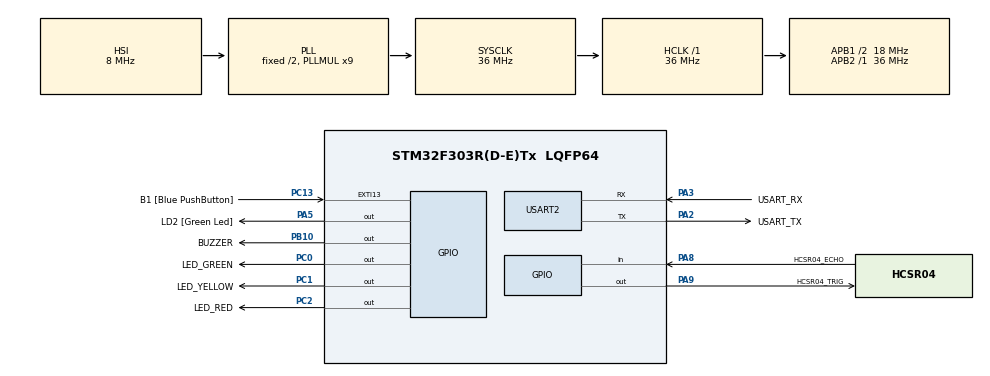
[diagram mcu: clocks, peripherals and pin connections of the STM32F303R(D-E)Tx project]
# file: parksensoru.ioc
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Mcu.Family=STM32F3
Mcu.Name=STM32F303R(D-E)Tx
Mcu.Package=LQFP64
NVIC.PriorityGroup=NVIC_PRIORITYGROUP_0
PA13.GPIO_Label=TMS
PA13.Mode=Serial_Wire
PA13.Signal=SYS_JTMS-SWDIO
PA14.GPIO_Label=TCK
PA14.Mode=Serial_Wire
PA14.Signal=SYS_JTCK-SWCLK
PA2.GPIO_Label=USART_TX
PA2.GPIO_Mode=GPIO_MODE_AF_PP
PA2.GPIO_PuPd=GPIO_NOPULL
PA2.GPIO_Speed=GPIO_SPEED_FREQ_LOW
PA2.Mode=Asynchronous
PA2.Signal=USART2_TX
PA3.GPIO_Label=USART_RX
PA3.GPIO_Mode=GPIO_MODE_AF_PP
PA3.GPIO_PuPd=GPIO_NOPULL
PA3.GPIO_Speed=GPIO_SPEED_FREQ_LOW
PA3.Mode=Asynchronous
PA3.Signal=USART2_RX
PA5.GPIO_Label=LD2 [Green Led]
PA5.GPIO_Mode=GPIO_MODE_OUTPUT_PP
PA5.GPIO_PuPd=GPIO_NOPULL
PA5.GPIO_Speed=GPIO_SPEED_FREQ_LOW
PA5.Signal=GPIO_Output
PA8.GPIO_Label=HCSR04_ECHO
PA8.Signal=GPIO_Input
PA9.GPIO_Label=HCSR04_TRIG
PA9.Signal=GPIO_Output
PB10.GPIO_Label=BUZZER
PB10.Signal=GPIO_Output
PB3.GPIO_Label=SWO
PB3.Signal=SYS_JTDO-TRACESWO
PC0.GPIO_Label=LED_GREEN
PC0.Signal=GPIO_Output
PC1.GPIO_Label=LED_YELLOW
PC1.Signal=GPIO_Output
PC13.GPIO_Label=B1 [Blue PushButton]
PC13.GPIO_ModeDefaultEXTI=GPIO_MODE_IT_FALLING
PC13.Signal=GPXTI13
PC14-OSC32_IN.Mode=LSE-External-Oscillator
PC14-OSC32_IN.Signal=RCC_OSC32_IN
PC15-OSC32_OUT.Mode=LSE-External-Oscillator
PC15-OSC32_OUT.Signal=RCC_OSC32_OUT
PC2.GPIO_Label=LED_RED
PC2.Signal=GPIO_Output
PF0-OSC_IN.Mode=HSE-External-Clock-Source
PF0-OSC_IN.Signal=RCC_OSC_IN
PF1-OSC_OUT.Signal=RCC_OSC_OUT
ProjectManager.HeapSize=0x200
ProjectManager.StackSize=0x400
ProjectManager.TargetToolchain=STM32CubeIDE
RCC.AHBFreq_Value=36000000
RCC.APB1CLKDivider=RCC_HCLK_DIV2
RCC.APB1Freq_Value=18000000
RCC.APB1TimFreq_Value=36000000
RCC.APB2Freq_Value=36000000
RCC.APB2TimFreq_Value=36000000
RCC.CortexFreq_Value=36000000
RCC.HCLKFreq_Value=36000000
RCC.HSE_VALUE=8000000
RCC.HSI_VALUE=8000000
RCC.PLLM=8
RCC.PLLMUL=RCC_PLL_MUL9
RCC.PLLN=336
RCC.PLLP=RCC_PLLP_DIV4
RCC.PLLQ=7
RCC.RCC_PLLsource_Clock_Source_FROM_HSE=RCC_HSE_PREDIV_DIV2
RCC.SYSCLKFreq_VALUE=36000000
RCC.SYSCLKSourceVirtual=RCC_SYSCLKSOURCE_PLLCLK
RCC.USBFreq_Value=36000000
TIM2.Prescaler=35
USART2.VirtualMode-Asynchronous=VM_ASYNC
VP_TIM2_VS_ClockSourceINT.Mode=Internal
board=NUCLEO-F303RE

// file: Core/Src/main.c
/* USER CODE BEGIN Header */
/**
  ******************************************************************************
  * @file           : main.c
  * @brief          : Main program body
  ******************************************************************************
  * @attention
  *
  * Copyright (c) 2026 STMicroelectronics.
  * All rights reserved.
  *
  * This software is licensed under terms that can be found in the LICENSE file
  * in the root directory of this software component.
  * If no LICENSE file comes with this software, it is provided AS-IS.
  *
  ******************************************************************************
  */
/* USER CODE END Header */
#include "main.h"

TIM_HandleTypeDef htim2;

UART_HandleTypeDef huart2;

void SystemClock_Config(void);
static void MX_GPIO_Init(void);
static void MX_USART2_UART_Init(void);
static void MX_TIM2_Init(void);

/* USER CODE BEGIN 0 */
void delay_us(uint16_t us) {
    __HAL_TIM_SET_COUNTER(&htim2, 0);  // Timer'ı sıfırla (htim1 kullandığını varsayıyorum)
    while (__HAL_TIM_GET_COUNTER(&htim2) < us); // Hedef süreye kadar bekle
}
/* USER CODE END 0 */

int main(void)
{

  /* USER CODE BEGIN 1 */
	uint32_t pMillis;
	uint32_t Local_Time = 0;
	uint32_t Distance = 0;
  /* USER CODE END 1 */

  /* MCU Configuration--------------------------------------------------------*/

  /* Reset of all peripherals, Initializes the Flash interface and the Systick. */
  HAL_Init();

  /* Configure the system clock */
  SystemClock_Config();

  /* Initialize all configured peripherals */
  MX_GPIO_Init();
  MX_USART2_UART_Init();
  MX_TIM2_Init();

  /* Infinite loop */
  /* USER CODE BEGIN WHILE */
  HAL_TIM_Base_Start(&htim2);
  while (1)
  {
	      // --- 1. MESAFE ÖLÇÜMÜ (Aynı kalıyor) ---
	      HAL_GPIO_WritePin(HCSR04_TRIG_GPIO_Port, HCSR04_TRIG_Pin, GPIO_PIN_SET);
	      delay_us(10);
	      HAL_GPIO_WritePin(HCSR04_TRIG_GPIO_Port, HCSR04_TRIG_Pin, GPIO_PIN_RESET);

	      while (!(HAL_GPIO_ReadPin(HCSR04_ECHO_GPIO_Port, HCSR04_ECHO_Pin)));
	      __HAL_TIM_SET_COUNTER(&htim2, 0); // Senin timer'ın TIM2 idi
	      while (HAL_GPIO_ReadPin(HCSR04_ECHO_GPIO_Port, HCSR04_ECHO_Pin));
	      Local_Time = __HAL_TIM_GET_COUNTER(&htim2);

	      Distance = Local_Time * 0.034 / 2;

	      // --- 2. LED VE DİNAMİK BUZZER MANTIĞI ---

	      if (Distance >= 50) {
	          // GÜVENLİ: Sadece Yeşil LED yanar, Buzzer susar
	          HAL_GPIO_WritePin(LED_GREEN_GPIO_Port, LED_GREEN_Pin, 1);
	          HAL_GPIO_WritePin(LED_YELLOW_GPIO_Port, LED_YELLOW_Pin, 0);
	          HAL_GPIO_WritePin(LED_RED_GPIO_Port, LED_RED_Pin, 0);
	          HAL_GPIO_WritePin(BUZZER_GPIO_Port, BUZZER_Pin, 0);
	      }
	      else if (Distance < 50 && Distance >= 20) {
	          // DİKKAT: Sarı LED yanar, mesafe azaldıkça hızlanan bip
	          HAL_GPIO_WritePin(LED_GREEN_GPIO_Port, LED_GREEN_Pin, 0);
	          HAL_GPIO_WritePin(LED_YELLOW_GPIO_Port, LED_YELLOW_Pin, 1);
	          HAL_GPIO_WritePin(LED_RED_GPIO_Port, LED_RED_Pin, 0);

	          // Dinamik Bipleme
	          HAL_GPIO_WritePin(BUZZER_GPIO_Port, BUZZER_Pin, 1); // Buzzer'ı aç
	          HAL_Delay(60);                                     // Kısa bir "bip" sesi (sabit süre)
	          HAL_GPIO_WritePin(BUZZER_GPIO_Port, BUZZER_Pin, 0); // Buzzer'ı kapat

	          // Mesafe ile orantılı bekle: Mesafe azaldıkça bu süre kısalır
	          HAL_Delay(Distance * 10);
	      }
	      else if (Distance < 20 && Distance > 0) {
	          // TEHLİKE: Kırmızı LED yanar, Buzzer SÜREKLİ çalar
	          HAL_GPIO_WritePin(LED_GREEN_GPIO_Port, LED_GREEN_Pin, 0);
	          HAL_GPIO_WritePin(LED_YELLOW_GPIO_Port, LED_YELLOW_Pin, 0);
	          HAL_GPIO_WritePin(LED_RED_GPIO_Port, LED_RED_Pin, 1);
	          HAL_GPIO_WritePin(BUZZER_GPIO_Port, BUZZER_Pin, 1);
	      }

	      HAL_Delay(20); // Sistem kararlılığı için çok kısa bir ara
    /* USER CODE END WHILE */

  }
}

void SystemClock_Config(void)
{
  RCC_OscInitTypeDef RCC_OscInitStruct = {0};
  RCC_ClkInitTypeDef RCC_ClkInitStruct = {0};
  RCC_PeriphCLKInitTypeDef PeriphClkInit = {0};

  /** Initializes the RCC Oscillators according to the specified parameters
  * in the RCC_OscInitTypeDef structure.
  */
  RCC_OscInitStruct.OscillatorType = RCC_OSCILLATORTYPE_HSI;
  RCC_OscInitStruct.HSIState = RCC_HSI_ON;
  RCC_OscInitStruct.HSICalibrationValue = RCC_HSICALIBRATION_DEFAULT;
  RCC_OscInitStruct.PLL.PLLState = RCC_PLL_ON;
  RCC_OscInitStruct.PLL.PLLSource = RCC_PLLSOURCE_HSI;
  RCC_OscInitStruct.PLL.PLLMUL = RCC_PLL_MUL9;
  RCC_OscInitStruct.PLL.PREDIV = RCC_PREDIV_DIV1;
  if (HAL_RCC_OscConfig(&RCC_OscInitStruct) != HAL_OK)
  {
    Error_Handler();
  }

  /** Initializes the CPU, AHB and APB buses clocks
  */
  RCC_ClkInitStruct.ClockType = RCC_CLOCKTYPE_HCLK|RCC_CLOCKTYPE_SYSCLK
                              |RCC_CLOCKTYPE_PCLK1|RCC_CLOCKTYPE_PCLK2;
  RCC_ClkInitStruct.SYSCLKSource = RCC_SYSCLKSOURCE_PLLCLK;
  RCC_ClkInitStruct.AHBCLKDivider = RCC_SYSCLK_DIV1;
  RCC_ClkInitStruct.APB1CLKDivider = RCC_HCLK_DIV2;
  RCC_ClkInitStruct.APB2CLKDivider = RCC_HCLK_DIV1;

  if (HAL_RCC_ClockConfig(&RCC_ClkInitStruct, FLASH_LATENCY_1) != HAL_OK)
  {
    Error_Handler();
  }
  PeriphClkInit.PeriphClockSelection = RCC_PERIPHCLK_USART2|RCC_PERIPHCLK_TIM2;
  PeriphClkInit.Usart2ClockSelection = RCC_USART2CLKSOURCE_PCLK1;
  PeriphClkInit.Tim2ClockSelection = RCC_TIM2CLK_HCLK;
  if (HAL_RCCEx_PeriphCLKConfig(&PeriphClkInit) != HAL_OK)
  {
    Error_Handler();
  }
}

static void MX_TIM2_Init(void)
{

  TIM_ClockConfigTypeDef sClockSourceConfig = {0};
  TIM_MasterConfigTypeDef sMasterConfig = {0};

  htim2.Instance = TIM2;
  htim2.Init.Prescaler = 35;
  htim2.Init.CounterMode = TIM_COUNTERMODE_UP;
  htim2.Init.Period = 4294967295;
  htim2.Init.ClockDivision = TIM_CLOCKDIVISION_DIV1;
  htim2.Init.AutoReloadPreload = TIM_AUTORELOAD_PRELOAD_DISABLE;
  if (HAL_TIM_Base_Init(&htim2) != HAL_OK)
  {
    Error_Handler();
  }
  sClockSourceConfig.ClockSource = TIM_CLOCKSOURCE_INTERNAL;
  if (HAL_TIM_ConfigClockSource(&htim2, &sClockSourceConfig) != HAL_OK)
  {
    Error_Handler();
  }
  sMasterConfig.MasterOutputTrigger = TIM_TRGO_RESET;
  sMasterConfig.MasterSlaveMode = TIM_MASTERSLAVEMODE_DISABLE;
  if (HAL_TIMEx_MasterConfigSynchronization(&htim2, &sMasterConfig) != HAL_OK)
  {
    Error_Handler();
  }

}

static void MX_USART2_UART_Init(void)
{

  huart2.Instance = USART2;
  huart2.Init.BaudRate = 38400;
  huart2.Init.WordLength = UART_WORDLENGTH_8B;
  huart2.Init.StopBits = UART_STOPBITS_1;
  huart2.Init.Parity = UART_PARITY_NONE;
  huart2.Init.Mode = UART_MODE_TX_RX;
  huart2.Init.HwFlowCtl = UART_HWCONTROL_NONE;
  huart2.Init.OverSampling = UART_OVERSAMPLING_16;
  huart2.Init.OneBitSampling = UART_ONE_BIT_SAMPLE_DISABLE;
  huart2.AdvancedInit.AdvFeatureInit = UART_ADVFEATURE_NO_INIT;
  if (HAL_UART_Init(&huart2) != HAL_OK)
  {
    Error_Handler();
  }

}

static void MX_GPIO_Init(void)
{
  GPIO_InitTypeDef GPIO_InitStruct = {0};

  /* GPIO Ports Clock Enable */
  __HAL_RCC_GPIOC_CLK_ENABLE();
  __HAL_RCC_GPIOF_CLK_ENABLE();
  __HAL_RCC_GPIOA_CLK_ENABLE();
  __HAL_RCC_GPIOB_CLK_ENABLE();

  /*Configure GPIO pin Output Level */
  HAL_GPIO_WritePin(GPIOC, LED_GREEN_Pin|LED_YELLOW_Pin|LED_RED_Pin, GPIO_PIN_RESET);

  /*Configure GPIO pin Output Level */
  HAL_GPIO_WritePin(GPIOA, LD2_Pin|HCSR04_TRIG_Pin, GPIO_PIN_RESET);

  /*Configure GPIO pin Output Level */
  HAL_GPIO_WritePin(BUZZER_GPIO_Port, BUZZER_Pin, GPIO_PIN_RESET);

  /*Configure GPIO pin : B1_Pin */
  GPIO_InitStruct.Pin = B1_Pin;
  GPIO_InitStruct.Mode = GPIO_MODE_IT_FALLING;
  GPIO_InitStruct.Pull = GPIO_NOPULL;
  HAL_GPIO_Init(B1_GPIO_Port, &GPIO_InitStruct);

  /*Configure GPIO pins : LED_GREEN_Pin LED_YELLOW_Pin LED_RED_Pin */
  GPIO_InitStruct.Pin = LED_GREEN_Pin|LED_YELLOW_Pin|LED_RED_Pin;
  GPIO_InitStruct.Mode = GPIO_MODE_OUTPUT_PP;
  GPIO_InitStruct.Pull = GPIO_NOPULL;
  GPIO_InitStruct.Speed = GPIO_SPEED_FREQ_LOW;
  HAL_GPIO_Init(GPIOC, &GPIO_InitStruct);

  /*Configure GPIO pins : LD2_Pin HCSR04_TRIG_Pin */
  GPIO_InitStruct.Pin = LD2_Pin|HCSR04_TRIG_Pin;
  GPIO_InitStruct.Mode = GPIO_MODE_OUTPUT_PP;
  GPIO_InitStruct.Pull = GPIO_NOPULL;
  GPIO_InitStruct.Speed = GPIO_SPEED_FREQ_LOW;
  HAL_GPIO_Init(GPIOA, &GPIO_InitStruct);

  /*Configure GPIO pin : BUZZER_Pin */
  GPIO_InitStruct.Pin = BUZZER_Pin;
  GPIO_InitStruct.Mode = GPIO_MODE_OUTPUT_PP;
  GPIO_InitStruct.Pull = GPIO_NOPULL;
  GPIO_InitStruct.Speed = GPIO_SPEED_FREQ_LOW;
  HAL_GPIO_Init(BUZZER_GPIO_Port, &GPIO_InitStruct);

  /*Configure GPIO pin : HCSR04_ECHO_Pin */
  GPIO_InitStruct.Pin = HCSR04_ECHO_Pin;
  GPIO_InitStruct.Mode = GPIO_MODE_INPUT;
  GPIO_InitStruct.Pull = GPIO_NOPULL;
  HAL_GPIO_Init(HCSR04_ECHO_GPIO_Port, &GPIO_InitStruct);

}

void Error_Handler(void)
{
  __disable_irq();
  while (1)
  {
  }
}
